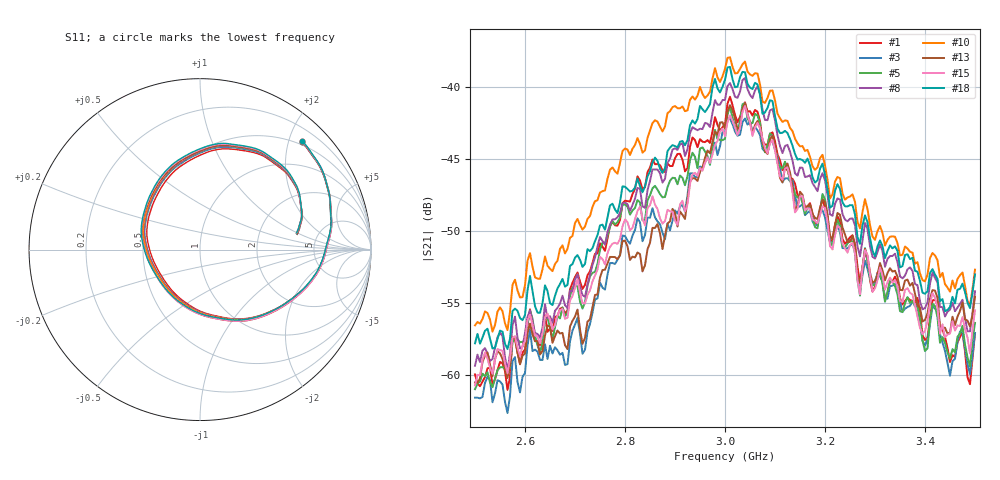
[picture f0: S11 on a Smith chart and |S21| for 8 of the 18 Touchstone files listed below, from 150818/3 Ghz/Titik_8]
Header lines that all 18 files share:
# Hz S RI R 50
! CMT, C1220, 16058040, 17.2.0/1
! Data: Format (Calibration Info)
! Freq  S11: Re/Im (F2)  S21: Re/Im (F2)  S12: Re/Im (F2)  S22: Re/Im (F2)
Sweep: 2.5 GHz to 3.5 GHz
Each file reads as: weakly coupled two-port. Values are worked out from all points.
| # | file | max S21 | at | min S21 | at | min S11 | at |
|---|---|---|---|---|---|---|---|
| 1 | Sudut_40_Titik_8.s2p | -40.67 dB | 3.01 GHz | -61.1 dB | 2.565 GHz | -11.3 dB | 2.985 GHz |
| 2 | Sudut_60_Titik_8.s2p | -41.33 dB | 3.01 GHz | -62.8 dB | 2.51 GHz | -11.2 dB | 2.985 GHz |
| 3 | Sudut_70_Titik_8.s2p | -42.19 dB | 3.04 GHz | -62.7 dB | 2.565 GHz | -11.0 dB | 2.985 GHz |
| 4 | Sudut_120_Titik_8.s2p | -41.75 dB | 3.04 GHz | -60.9 dB | 2.5 GHz | -10.8 dB | 2.985 GHz |
| 5 | Sudut_130_Titik_8.s2p | -41.12 dB | 3.04 GHz | -61.0 dB | 2.5 GHz | -11.0 dB | 2.985 GHz |
| 6 | Sudut_140_Titik_8.s2p | -40.92 dB | 3.04 GHz | -61.2 dB | 2.5 GHz | -11.1 dB | 2.985 GHz |
| 7 | Sudut_150_Titik_8.s2p | -39.59 dB | 3.04 GHz | -60.6 dB | 2.565 GHz | -11.0 dB | 2.985 GHz |
| 8 | Sudut_160_Titik_8.s2p | -39.37 dB | 3.04 GHz | -59.7 dB | 2.565 GHz | -10.9 dB | 2.985 GHz |
| 9 | Sudut_190_Titik_8.s2p | -38.28 dB | 3.005 GHz | -57.1 dB | 2.565 GHz | -10.7 dB | 2.985 GHz |
| 10 | Sudut_210_Titik_8.s2p | -37.92 dB | 3.01 GHz | -57.0 dB | 2.535 GHz | -10.8 dB | 2.985 GHz |
| 11 | Sudut_220_Titik_8.s2p | -38.24 dB | 3.005 GHz | -58.0 dB | 2.535 GHz | -10.9 dB | 2.985 GHz |
| 12 | Sudut_260_Titik_8.s2p | -40.78 dB | 3.04 GHz | -60.8 dB | 2.565 GHz | -10.5 dB | 2.985 GHz |
| 13 | Sudut_270_Titik_8.s2p | -41.15 dB | 3.04 GHz | -60.6 dB | 2.505 GHz | -10.5 dB | 2.985 GHz |
| 14 | Sudut_280_Titik_8.s2p | -41.59 dB | 3.04 GHz | -60.4 dB | 2.505 GHz | -10.6 dB | 2.985 GHz |
| 15 | Sudut_290_Titik_8.s2p | -41.31 dB | 3.04 GHz | -60.8 dB | 2.5 GHz | -10.5 dB | 2.985 GHz |
| 16 | Sudut_300_Titik_8.s2p | -41.09 dB | 3.04 GHz | -60.5 dB | 2.535 GHz | -10.5 dB | 2.985 GHz |
| 17 | Sudut_310_Titik_8.s2p | -40.54 dB | 3.04 GHz | -60.4 dB | 2.535 GHz | -10.4 dB | 2.985 GHz |
| 18 | Sudut_360_Titik_8.s2p | -38.60 dB | 3.01 GHz | -58.2 dB | 2.565 GHz | -10.5 dB | 2.985 GHz |
